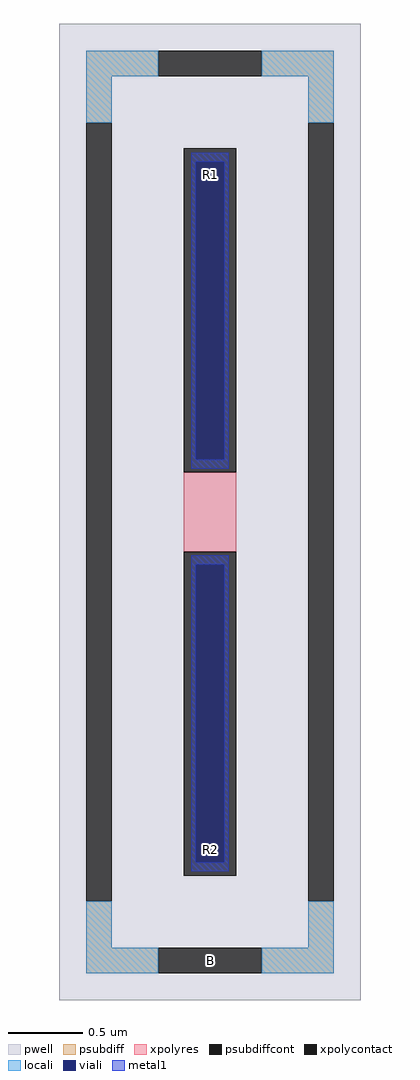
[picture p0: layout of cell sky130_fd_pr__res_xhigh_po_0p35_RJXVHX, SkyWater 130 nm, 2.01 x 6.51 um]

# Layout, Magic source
magic
tech sky130A
magscale 1 2
<< pwell >>
rect -201 -651 201 651
<< psubdiff >>
rect -165 581 -69 615
rect 69 581 165 615
rect -165 519 -131 581
rect 131 519 165 581
rect -165 -581 -131 -519
rect 131 -581 165 -519
rect -165 -615 -69 -581
rect 69 -615 165 -581
<< psubdiffcont >>
rect -69 581 69 615
rect -165 -519 -131 519
rect 131 -519 165 519
rect -69 -615 69 -581
<< xpolycontact >>
rect -35 53 35 485
rect -35 -485 35 -53
<< xpolyres >>
rect -35 -53 35 53
<< locali >>
rect -165 581 -69 615
rect 69 581 165 615
rect -165 519 -131 581
rect 131 519 165 581
rect -165 -581 -131 -519
rect 131 -581 165 -519
rect -165 -615 -69 -581
rect 69 -615 165 -581
<< viali >>
rect -19 70 19 467
rect -19 -467 19 -70
<< metal1 >>
rect -25 467 25 479
rect -25 70 -19 467
rect 19 70 25 467
rect -25 58 25 70
rect -25 -70 25 -58
rect -25 -467 -19 -70
rect 19 -467 25 -70
rect -25 -479 25 -467
<< labels >>
rlabel psubdiffcont 0 -598 0 -598 0 B
port 1 nsew
rlabel xpolycontact 0 450 0 450 0 R1
port 2 nsew
rlabel xpolycontact 0 -450 0 -450 0 R2
port 3 nsew
<< properties >>
string FIXED_BBOX -148 -598 148 598
string gencell sky130_fd_pr__res_xhigh_po_0p35
string library sky130
string parameters w 0.350 l 0.687 m 1 nx 1 wmin 0.350 lmin 0.50 class resistor rho 2000 val 5.001k dummy 0 dw 0.0 term 188.2 sterm 0.0 caplen 0 wmax 0.350 guard 1 glc 1 grc 1 gtc 1 gbc 1 compatible {sky130_fd_pr__res_xhigh_po_0p35  sky130_fd_pr__res_xhigh_po_0p69 sky130_fd_pr__res_xhigh_po_1p41  sky130_fd_pr__res_xhigh_po_2p85 sky130_fd_pr__res_xhigh_po_5p73} snake 0 full_metal 1 n_guard 0 hv_guard 0 vias 1 viagb 0 viagt 0 viagl 0 viagr 0 doports 1
<< end >>
